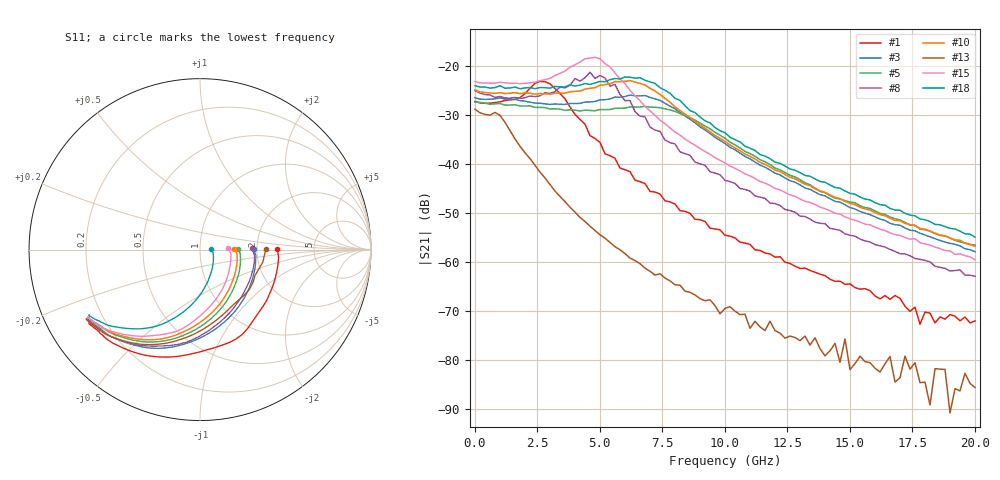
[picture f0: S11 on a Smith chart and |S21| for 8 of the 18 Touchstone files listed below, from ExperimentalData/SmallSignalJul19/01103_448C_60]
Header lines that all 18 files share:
!;Filter: kein Filter
!auto
!SP-Measurements Prober G4
!SP-Measurements Prober G4
!01103_448C
!134
!12
!60
!-20
# Hz S  RI  R 50
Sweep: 10 MHz to 20.01 GHz
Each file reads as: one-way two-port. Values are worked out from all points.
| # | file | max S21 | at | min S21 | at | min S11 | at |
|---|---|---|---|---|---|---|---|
| 1 | 01103_448C_C134R233_I_1mA_60°C.s2p | -23.09 dB | 2.61 GHz | -72.6 dB | 17.81 GHz | -6.9 dB | 10 MHz |
| 2 | 01103_448C_C134R233_I_2mA_60°C.s2p | -24.40 dB | 5.61 GHz | -61.1 dB | 20.01 GHz | -8.6 dB | 10 MHz |
| 3 | 01103_448C_C134R233_I_3mA_60°C.s2p | -25.85 dB | 6.21 GHz | -57.8 dB | 20.01 GHz | -10.1 dB | 10 MHz |
| 4 | 01103_448C_C134R233_I_4mA_60°C.s2p | -26.67 dB | 10 MHz | -56.6 dB | 19.81 GHz | -11.5 dB | 10 MHz |
| 5 | 01103_448C_C134R233_I_5mA_60°C.s2p | -27.29 dB | 10 MHz | -56.5 dB | 20.01 GHz | -13.0 dB | 10 MHz |
| 6 | 01103_448C_C134R233_I_6mA_60°C.s2p | -27.92 dB | 10 MHz | -57.5 dB | 20.01 GHz | -14.7 dB | 10 MHz |
| 7 | 01103_448C_C134R235_I_1mA_60°C.s2p | -24.31 dB | 1.61 GHz | -80.2 dB | 19.61 GHz | -7.8 dB | 10 MHz |
| 8 | 01103_448C_C134R235_I_2mA_60°C.s2p | -21.19 dB | 4.61 GHz | -62.8 dB | 20.01 GHz | -10.3 dB | 10 MHz |
| 9 | 01103_448C_C134R235_I_3mA_60°C.s2p | -21.72 dB | 5.61 GHz | -58.5 dB | 19.81 GHz | -12.3 dB | 10 MHz |
| 10 | 01103_448C_C134R235_I_4mA_60°C.s2p | -22.89 dB | 6.21 GHz | -56.7 dB | 20.01 GHz | -14.0 dB | 10 MHz |
| 11 | 01103_448C_C134R235_I_5mA_60°C.s2p | -24.66 dB | 6.61 GHz | -55.7 dB | 20.01 GHz | -15.9 dB | 10 MHz |
| 12 | 01103_448C_C134R235_I_6mA_60°C.s2p | -25.90 dB | 10 MHz | -55.7 dB | 20.01 GHz | -17.9 dB | 10 MHz |
| 13 | 01103_448C_C134R237_I_1mA_60°C.s2p | -28.74 dB | 10 MHz | -90.7 dB | 19.01 GHz | -9.0 dB | 610 MHz |
| 14 | 01103_448C_C134R237_I_2mA_60°C.s2p | -18.96 dB | 4.01 GHz | -65.0 dB | 19.81 GHz | -12.9 dB | 10 MHz |
| 15 | 01103_448C_C134R237_I_3mA_60°C.s2p | -18.14 dB | 4.81 GHz | -59.5 dB | 20.01 GHz | -15.6 dB | 10 MHz |
| 16 | 01103_448C_C134R237_I_4mA_60°C.s2p | -19.23 dB | 5.41 GHz | -56.6 dB | 20.01 GHz | -18.0 dB | 10 MHz |
| 17 | 01103_448C_C134R237_I_5mA_60°C.s2p | -20.74 dB | 6.01 GHz | -55.0 dB | 19.81 GHz | -20.9 dB | 10 MHz |
| 18 | 01103_448C_C134R237_I_6mA_60°C.s2p | -22.17 dB | 6.01 GHz | -54.8 dB | 20.01 GHz | -24.2 dB | 10 MHz |
